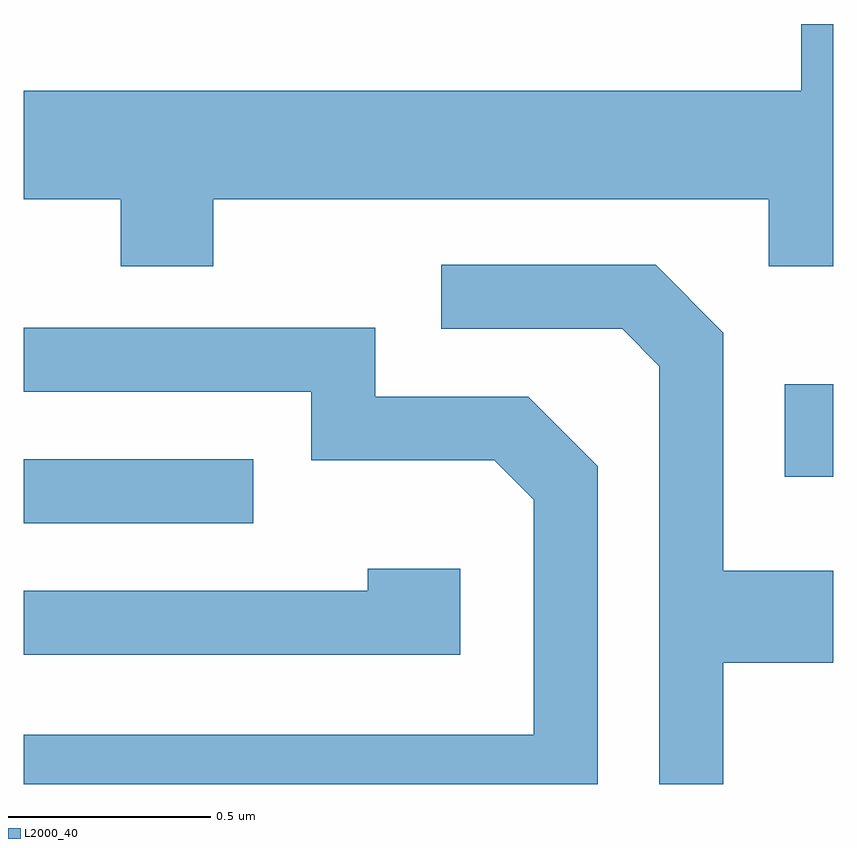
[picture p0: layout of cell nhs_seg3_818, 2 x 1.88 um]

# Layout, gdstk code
import gdstk
lib = gdstk.Library(unit=1e-6, precision=1e-09)
def R(c, l, rs):  # rectangles x0, y0, x1, y1
    for r in rs: c.add(gdstk.rectangle(r[:2], r[2:], *l))
def P(c, l, *ps):  # polygons
    for p in ps: c.add(gdstk.Polygon(p, *l))
L2000_40 = (2000, 40)

nhs_seg3_818 = lib.new_cell('nhs_seg3_818')
R(nhs_seg3_818, L2000_40, [(190.611,1249.536,191.178,1249.694), (192.491,1249.651,192.611,1249.879)])
P(nhs_seg3_818, L2000_40, [(191.079,1250.336),(192.451,1250.336),(192.451,1250.171),(192.611,1250.171),(192.611,1250.769),(192.531,1250.769),(192.531,1250.604),(190.611,1250.604),(190.611,1250.336),(190.851,1250.336),(190.851,1250.171),(191.079,1250.171)],
  [(192.339,1249.191),(192.611,1249.191),(192.611,1249.419),(192.339,1249.419),(192.339,1250.007),(192.172,1250.174),(191.643,1250.174),(191.643,1250.016),(192.089,1250.016),(192.181,1249.924),(192.181,1248.892),(192.339,1248.892)],
  [(192.029,1249.677),(191.857,1249.849),(191.479,1249.849),(191.479,1250.019),(190.611,1250.019),(190.611,1249.861),(191.321,1249.861),(191.321,1249.691),(191.774,1249.691),(191.871,1249.594),(191.871,1249.014),(190.611,1249.014),(190.611,1248.892),(192.029,1248.892)],
  [(191.689,1249.424),(191.461,1249.424),(191.461,1249.369),(190.611,1249.369),(190.611,1249.211),(191.689,1249.211)])

lib.write_gds('nhs_seg3_818.gds')
